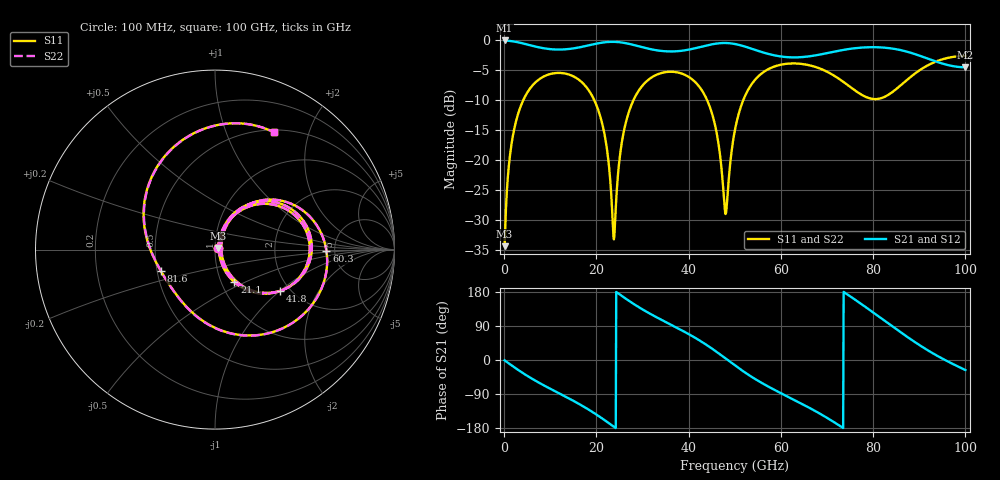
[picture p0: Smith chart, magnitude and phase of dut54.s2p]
! Touchstone file exported from HFSS 2026.1.0
!  File:  C:/ffzhzh/LocalFiles/Ansys_Project_Files/temp_train_TSV_RDL_54_1783621980_29156.aedt
!  Generated:  02:40:04 AM Jul 10, 2026
!  Design:  TSV_RDL
!  Project:  temp_train_TSV_RDL_54_1783621980_29156
! Variables:
!  h_bsmrdl = 3.13um
!  h_ox = 20um
!  h_rdl = 5um
!  h_sub = 54.81um
!  h_tmrdl = 2.82um
!  h_tsv = 54.81um
!  h_via = 3um
!  l_bsmrdl = 396.62um
!  l_sub = 2485.31um
!  l_tmrdl = 200.68um
!  m_sub = 200um
!  pitch = 43.74um
!  r_tsv = 12.56um
!  s_tmrdl = 10um
!  w_bsmrdl = 13.44um
!  w_sub = 500um
!  w_tmrdl = 17.47um
!  x_tsv_center1 = 209.415um
!  x_tsv_center2 = 619.475um
!  x_tsv_center3 = 837.625um
!  x_tsv_center4 = 1247.685um
!  x_tsv_center5 = 1465.835um
!  x_tsv_center6 = 1875.895um
# GHz S MA R 50.000000
! Terminal data exported
! Port[1] = TM_RDL1_1_T1
! Port[2] = TM_RDL5_1_T1
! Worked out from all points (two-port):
!   1000 points, 100 MHz to 100 GHz, reference 50 ohm
!   highest |S21| = -0.15 dB at 100 MHz (marker M1); lowest = -4.6 dB at 99.9 GHz (marker M2)
!   |S21| within 3 dB of the highest: start of sweep to 91.76 GHz
!   lowest |S11| = -34.4 dB at 100 MHz (marker M3), VSWR 1.04, Z = 51.7 + j0.917 ohm
!   |S11| at or under -10 dB: start of sweep to 4.191 GHz; 19.49 GHz to 28.08 GHz (8.593 GHz wide, 36.1 % of centre); 43.96 GHz to 51.88 GHz (7.923 GHz wide, 16.5 % of centre)
!   |S22| runs from -34.4 to -2.7 dB; largest |S21 - S12| = 1.9e-13
!   S11 on the Smith chart (normalised r, x): 100 MHz: 1.03, +0.02; 21.1 GHz: 1.15, -0.44; 41.8 GHz: 1.77, -1.00; 60.3 GHz: 4.28, -0.13; 81.6 GHz: 0.52, -0.14; 100 GHz: 0.53, +1.49
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0.1  0.01912 27.6  0.9832 -0.9  0.9832 -0.9  0.01912 27.6
! Gamma 0 0 0 0
! Port Impedance 50 0 50 0
1.7  0.1431 66.7  0.9692 -15.0  0.9692 -15.0  0.1431 66.7
4.5  0.3342 48.3  0.9201 -37.9  0.9201 -37.9  0.3342 48.3
10.8  0.5245 7.2  0.828 -81.0  0.828 -81.0  0.5246 7.2
16.8  0.4434 -30.0  0.8691 -119.9  0.8691 -119.9  0.4434 -30.0
21.1  0.2112 -59.2  0.9411 -153.0  0.9411 -153.0  0.2112 -59.1
23.8  0.0218 4.1  0.9575 -176.2  0.9575 -176.2  0.02211 4.1
26.9  0.2404 61.2  0.9244 157.4  0.9244 157.4  0.2405 61.1
33.4  0.5165 18.6  0.8106 110.5  0.8106 110.5  0.5165 18.6
41.8  0.4279 -32.6  0.8538 55.8  0.8538 55.8  0.4279 -32.6
45.6  0.2035 -56.6  0.9209 25.4  0.9209 25.4  0.2034 -56.8
48  0.03539 0.3  0.9362 4.1  0.9362 4.1  0.03488 0.3
50.1  0.182 63.1  0.9176 -14.8  0.9176 -14.8  0.182 63.3
54.5  0.4677 35.2  0.8185 -50.8  0.8185 -50.8  0.4678 35.2
60.3  0.6212 -0.8  0.7208 -89.4  0.7208 -89.4  0.6213 -0.9
66.7  0.6043 -39.1  0.7305 -129.6  0.7305 -129.6  0.6045 -39.2
74.8  0.4097 -97.5  0.8352 169.9  0.8352 169.9  0.4098 -98.0
81.6  0.3243 -158.0  0.8609 111.5  0.8609 111.5  0.3244 -158.9
83.4  0.3492 -175.0  0.8492 95.7  0.8492 95.7  0.3495 -175.9
90.6  0.5727 122.6  0.7223 35.0  0.7223 35.0  0.573 122.2
99.9  0.7313 64.0  0.5881 -25.9  0.5881 -25.9  0.7314 63.8
100  0.7313 63.4  0.5881 -26.5  0.5881 -26.5  0.7314 63.2
